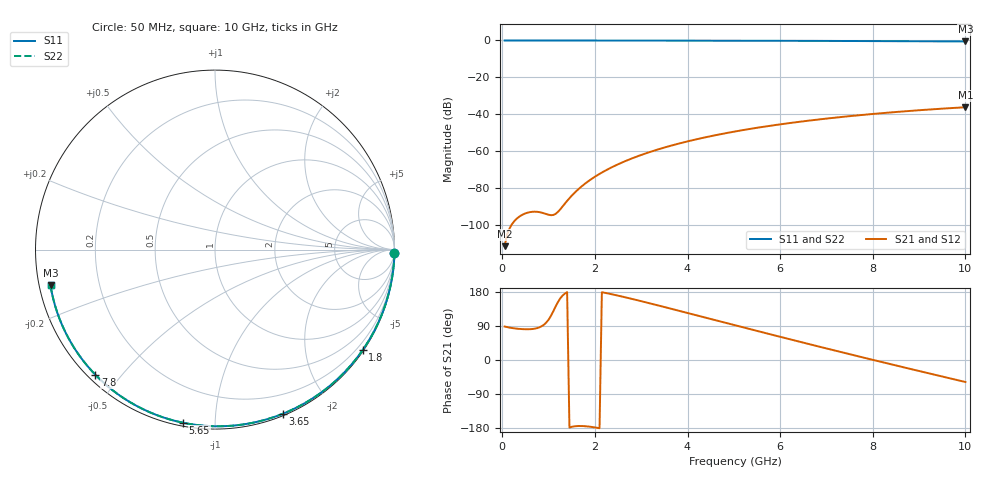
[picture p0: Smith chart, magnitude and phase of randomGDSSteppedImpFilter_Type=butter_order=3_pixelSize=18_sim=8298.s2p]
! freq	dB(S11)	phase(S11)	dB(S12)	phase(S12)
!  dB(S21)	phase(S21)	dB(S22)	phase(S22)
!S-par simulation data
#  GHz  S  DB  R 50
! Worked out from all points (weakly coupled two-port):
!   200 points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, 50 MHz to 10 GHz, reference 50 ohm
!   highest |S21| = -36.28 dB at 10 GHz (marker M1); lowest = -111.7 dB at 50 MHz (marker M2)
!   lowest |S11| = -0.6 dB at 10 GHz (marker M3), VSWR 31.26, Z = 1.62 - j5.38 ohm
!   |S11| at or under -10 dB: nowhere
!   |S22| runs from -0.6 to 0.0 dB; largest |S21 - S12| = 0
!   S11 on the Smith chart (normalised r, x): 50 MHz: open; 1.8 GHz: 0.03, -3.25; 3.65 GHz: 0.02, -1.50; 5.65 GHz: 0.02, -0.83; 7.8 GHz: 0.02, -0.43; 10 GHz: 0.03, -0.11
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0.05  -0.00 -1.0  -111.75 88.4  -111.75 88.4  -0.00 -1.0
0.45  -0.01 -8.7  -94.46 81.4  -94.46 81.4  -0.01 -8.7
0.85  -0.02 -16.4  -93.52 89.0  -93.52 89.0  -0.02 -16.4
1.65  -0.04 -31.4  -80.63 -174.2  -80.63 -174.2  -0.04 -31.4
1.7  -0.04 -32.4  -79.54 -174.2  -79.54 -174.2  -0.04 -32.4
1.75  -0.04 -33.3  -78.51 -174.4  -78.51 -174.4  -0.04 -33.3
1.8  -0.04 -34.2  -77.53 -174.8  -77.53 -174.8  -0.04 -34.2
2.1  -0.05 -39.8  -72.48 -180.0  -72.48 -180.0  -0.05 -39.8
2.3  -0.06 -43.5  -69.70 175.2  -69.70 175.2  -0.06 -43.4
2.5  -0.06 -47.1  -67.26 169.9  -67.26 169.9  -0.06 -47.1
2.9  -0.07 -54.3  -63.11 158.3  -63.11 158.3  -0.07 -54.3
3.4  -0.08 -63.1  -58.91 142.9  -58.91 142.9  -0.08 -63.1
3.65  -0.09 -67.4  -57.10 135.1  -57.10 135.1  -0.09 -67.4
4.35  -0.11 -79.3  -52.80 113.0  -52.80 113.0  -0.11 -79.3
5.05  -0.14 -90.9  -49.34 90.9  -49.34 90.9  -0.14 -90.9
5.65  -0.17 -100.5  -46.85 72.1  -46.85 72.1  -0.17 -100.5
6.15  -0.19 -108.4  -45.05 56.5  -45.05 56.5  -0.19 -108.4
6.7  -0.23 -116.9  -43.30 39.6  -43.30 39.6  -0.23 -116.9
7.8  -0.31 -133.7  -40.39 6.4  -40.39 6.4  -0.31 -133.7
8.35  -0.36 -142.0  -39.17 -10.0  -39.17 -10.0  -0.36 -142.0
9.2  -0.46 -155.1  -37.55 -34.9  -37.55 -34.9  -0.46 -155.1
10  -0.56 -167.7  -36.28 -58.0  -36.28 -58.0  -0.56 -167.7
